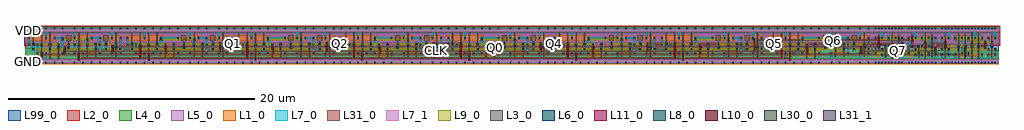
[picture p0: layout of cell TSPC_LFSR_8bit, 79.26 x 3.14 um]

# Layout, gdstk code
import gdstk
lib = gdstk.Library(unit=1e-6, precision=5e-10)
def R(c, l, rs):  # rectangles x0, y0, x1, y1
    for r in rs: c.add(gdstk.rectangle(r[:2], r[2:], *l))
def A(c, l, x, y, w, h, nx, ny, dx, dy):  # array of equal rectangles
    R(c, l, [(x+i*dx, y+j*dy, x+i*dx+w, y+j*dy+h) for i in range(nx) for j in range(ny)])
L1_0 = (1, 0)
L2_0 = (2, 0)
L3_0 = (3, 0)
L4_0 = (4, 0)
L5_0 = (5, 0)
L6_0 = (6, 0)
L7_0 = (7, 0)
L7_1 = (7, 1)
L8_0 = (8, 0)
L9_0 = (9, 0)
L10_0 = (10, 0)
L11_0 = (11, 0)
L30_0 = (30, 0)
L31_0 = (31, 0)
L31_1 = (31, 1)
L99_0 = (99, 0)

tspc_dff_s = lib.new_cell('TSPC_DFF_S')
A(tspc_dff_s, L1_0, 1.54, 0.52, 0.24, 0.48, 3, 1, 0.68, 0)
A(tspc_dff_s, L1_0, 3.88, 0.64, 0.24, 0.24, 4, 1, 0.68, 0)
A(tspc_dff_s, L1_0, 4.12, 0.64, 0.44, 0.24, 3, 1, 0.68, 0)
A(tspc_dff_s, L1_0, 0.18, 1.76, 0.24, 0.48, 4, 1, 0.68, 0)
A(tspc_dff_s, L1_0, 0.42, 1.76, 0.44, 0.48, 3, 1, 0.68, 0)
A(tspc_dff_s, L1_0, 3.88, 1.76, 0.24, 0.48, 3, 1, 0.68, 0)
R(tspc_dff_s, L1_0, [(0,-0.12,8,0.24), (1.78,0.52,2.22,1), (2.46,0.52,2.9,1), (0.86,0.64,1.1,0.88), (1.1,0.64,1.54,0.88), (6.9,0.64,7.14,0.88), (7.14,0.64,7.58,0.88), (7.58,0.64,7.82,0.88), (4.12,1.76,4.56,2.24), (4.8,1.76,5.24,2.24), (6.9,1.76,7.14,2.24), (7.14,1.76,7.58,2.24), (7.58,1.76,7.82,2.24), (2.9,1.88,3.14,2.12), (5.92,1.88,6.16,2.12), (3.14,1.94,3.88,2.06), (6.16,1.94,6.9,2.06), (0,2.52,8,2.88)])
R(tspc_dff_s, L2_0, [(-0.12,1.32,8.12,3)])
R(tspc_dff_s, L3_0, [(1.95,0.34,2.05,2.42), (2.63,0.34,2.73,1.36), (1.27,0.46,1.37,2.42), (4.29,0.46,4.39,2.42), (4.97,0.46,5.07,2.42), (5.65,0.46,5.75,1.62), (7.31,0.46,7.41,2.42), (2.58,1.12,2.78,1.36), (3.41,1.12,3.61,1.36), (3.46,1.12,3.56,2.24), (7.26,1.12,7.46,1.36), (1.22,1.28,1.42,1.52), (4.24,1.28,4.44,1.52), (4.92,1.28,5.12,1.52), (1.9,1.38,2.1,1.62), (5.6,1.38,5.8,1.62), (0.54,1.4,0.74,1.64), (0.59,1.4,0.69,2.42), (6.43,1.4,6.63,1.64), (6.48,1.4,6.58,2.24), (3.31,1.76,3.71,2.24), (6.33,1.76,6.73,2.24)])
R(tspc_dff_s, L4_0, [(0,0.26,8,1.2), (-0.02,2.42,8.02,2.9)])
R(tspc_dff_s, L5_0, [(-0.02,-0.14,8.02,0.26), (0,1.56,8,2.42)])
A(tspc_dff_s, L6_0, 0.24, -0.06, 0.12, 0.12, 5, 2, 0.68, 2.76)
A(tspc_dff_s, L6_0, 3.94, -0.06, 0.12, 0.12, 4, 2, 0.68, 2.76)
A(tspc_dff_s, L6_0, 1.6, 1.94, 0.12, 0.12, 3, 1, 0.68, 0)
R(tspc_dff_s, L6_0, [(6.96,-0.06,7.08,0.06), (7.64,-0.06,7.76,0.06), (0.92,0.7,1.04,0.82), (1.6,0.7,1.72,0.82), (2.96,0.7,3.08,0.82), (3.94,0.7,4.06,0.82), (4.62,0.7,4.74,0.82), (5.98,0.7,6.1,0.82), (6.96,0.7,7.08,0.82), (7.64,0.7,7.76,0.82), (2.62,1.18,2.74,1.3), (3.45,1.18,3.57,1.3), (7.3,1.18,7.42,1.3), (1.26,1.34,1.38,1.46), (4.28,1.34,4.4,1.46), (4.96,1.34,5.08,1.46), (1.94,1.44,2.06,1.56), (5.64,1.44,5.76,1.56), (0.58,1.46,0.7,1.58), (6.47,1.46,6.59,1.58), (0.24,1.94,0.36,2.06), (3.94,1.94,4.06,2.06), (5.3,1.94,5.42,2.06), (5.98,1.94,6.1,2.06), (6.96,1.94,7.08,2.06), (7.64,1.94,7.76,2.06), (6.96,2.7,7.08,2.82), (7.64,2.7,7.76,2.82)])
A(tspc_dff_s, L7_0, 1.6, 1.88, 0.12, 0.24, 3, 1, 0.68, 0)
R(tspc_dff_s, L7_0, [(0,-0.06,8,0.24), (1.6,0.06,1.72,0.82), (4.62,0.06,4.74,0.82), (6.96,0.06,7.08,0.82), (0.92,0.64,1.04,0.88), (1.6,0.64,1.72,0.88), (2.96,0.64,3.08,0.88), (3.94,0.64,4.06,0.88), (4.62,0.64,4.74,0.88), (5.98,0.64,6.1,0.88), (6.96,0.64,7.08,0.88), (7.64,0.64,7.76,0.88), (0.92,0.7,1.04,1.54), (2.96,0.7,3.08,2.06), (3.94,0.7,4.06,1.54), (5.98,0.7,6.1,2.06), (7.64,0.7,7.76,2.06), (0.51,0.96,0.77,1.24), (1.87,0.96,2.13,1.24), (5.57,0.96,5.83,1.24), (6.4,0.96,6.66,1.24), (7.57,0.96,7.83,1.24), (0.58,1.1,0.7,1.52), (1.94,1.1,2.06,1.5), (5.64,1.1,5.76,1.5), (6.47,1.1,6.59,1.52), (2.59,1.12,2.77,1.36), (3.42,1.12,3.6,1.36), (7.27,1.12,7.45,1.36), (1.23,1.2,1.41,1.6), (4.25,1.2,4.43,1.6), (2.62,1.24,2.74,1.48), (3.45,1.24,3.57,1.48), (7.3,1.24,7.42,1.48), (1.23,1.28,1.41,1.52), (4.25,1.28,4.43,1.52), (4.93,1.28,5.11,1.52), (0.17,1.34,0.43,1.62), (0.85,1.34,1.11,1.62), (2.55,1.34,2.81,1.62), (3.38,1.34,3.64,1.62), (3.87,1.34,4.13,1.62), (5.91,1.34,6.17,1.62), (7.23,1.34,7.49,1.62), (1.91,1.38,2.09,1.62), (5.61,1.38,5.79,1.62), (0.55,1.4,0.73,1.64), (4.96,1.4,5.08,1.88), (6.44,1.4,6.62,1.64), (0.24,1.42,0.36,2.06), (2.89,1.74,3.15,2.02), (4.89,1.74,5.15,2.02), (0.24,1.88,0.36,2.12), (3.94,1.88,4.06,2.12), (5.3,1.88,5.42,2.12), (5.98,1.88,6.1,2.12), (6.96,1.88,7.08,2.12), (7.64,1.88,7.76,2.12), (1.6,1.94,1.72,2.7), (2.28,1.94,3.08,2.06), (3.94,1.94,4.06,2.7), (5.3,1.94,6.1,2.06), (6.96,1.94,7.08,2.7), (0,2.52,8,2.82)])
R(tspc_dff_s, L7_1, [(0,0,8,0.24), (5.98,0.95,6.1,1.05), (7.64,0.95,7.76,1.05), (1.23,1.2,1.41,1.6), (4.25,1.2,4.43,1.6), (1.91,1.4,2.09,1.6), (0,2.52,8,2.76)])
R(tspc_dff_s, L8_0, [(0.57,1.03,0.71,1.17), (1.93,1.03,2.07,1.17), (5.63,1.03,5.77,1.17), (6.46,1.03,6.6,1.17), (7.63,1.03,7.77,1.17), (0.23,1.41,0.37,1.55), (0.91,1.41,1.05,1.55), (2.61,1.41,2.75,1.55), (3.44,1.41,3.58,1.55), (3.93,1.41,4.07,1.55), (5.97,1.41,6.11,1.55), (7.29,1.41,7.43,1.55), (2.95,1.81,3.09,1.95), (4.95,1.81,5.09,1.95)])
R(tspc_dff_s, L9_0, [(0.51,1.025,5.83,1.175), (6.4,1.025,7.83,1.175), (0.17,1.405,2.81,1.555), (3.38,1.405,7.49,1.555), (2.89,1.805,5.15,1.955)])
R(tspc_dff_s, L99_0, [(0,0,8,2.76)])
tspc_dff_s.add(gdstk.Label('QB', (6.04,1), layer=7, texttype=3))
tspc_dff_s.add(gdstk.Label('Q', (7.7,1), layer=7, texttype=3))
tspc_dff_s.add(gdstk.Label('CLK', (2,1.5), layer=7, texttype=3))
tspc_dff_s.add(gdstk.Label('SET', (4.34,1.4), layer=7, texttype=3))
tspc_dff_s.add(gdstk.Label('D', (1.32,1.4), layer=7, texttype=3))
tspc_dff_s.add(gdstk.Label('VDD', (4,2.64), layer=7, texttype=3))
tspc_dff_s.add(gdstk.Label('GND', (4,0.12), layer=7, texttype=3))

tspc_dff_r = lib.new_cell('TSPC_DFF_R')
A(tspc_dff_r, L1_0, 2.9, 0.52, 0.24, 0.48, 3, 1, 0.68, 0)
A(tspc_dff_r, L1_0, 0.86, 0.64, 0.24, 0.24, 3, 1, 0.68, 0)
A(tspc_dff_r, L1_0, 5.24, 0.64, 0.24, 0.24, 3, 1, 0.68, 0)
A(tspc_dff_r, L1_0, 0.18, 1.76, 0.24, 0.48, 5, 1, 0.68, 0)
A(tspc_dff_r, L1_0, 0.42, 1.76, 0.44, 0.48, 4, 1, 0.68, 0)
R(tspc_dff_r, L1_0, [(0,-0.12,8.68,0.24), (3.14,0.52,3.58,1), (3.82,0.52,4.26,1), (1.1,0.64,1.54,0.88), (1.78,0.64,2.22,0.88), (5.48,0.64,5.92,0.88), (6.16,0.64,6.6,0.88), (7.58,0.64,7.82,0.88), (7.82,0.64,8.26,0.88), (8.26,0.64,8.5,0.88), (5.24,1.76,5.48,2.24), (5.48,1.76,5.92,2.24), (5.92,1.76,6.16,2.24), (7.58,1.76,7.82,2.24), (7.82,1.76,8.26,2.24), (8.26,1.76,8.5,2.24), (4.26,1.88,4.5,2.12), (6.6,1.88,6.84,2.12), (4.5,1.94,5.24,2.06), (6.84,1.94,7.58,2.06), (0,2.52,8.68,2.88)])
R(tspc_dff_r, L2_0, [(-0.12,1.32,8.8,3)])
R(tspc_dff_r, L3_0, [(3.31,0.34,3.41,1.36), (3.99,0.34,4.09,1.62), (1.27,0.46,1.37,2.42), (1.95,0.46,2.05,2.42), (5.65,0.46,5.75,2.42), (6.33,0.46,6.43,1.62), (7.99,0.46,8.09,2.42), (3.26,1.12,3.46,1.36), (4.77,1.12,4.97,1.36), (4.82,1.12,4.92,2.24), (7.94,1.12,8.14,1.36), (1.22,1.28,1.42,1.52), (1.9,1.28,2.1,1.52), (5.6,1.28,5.8,1.52), (3.94,1.38,4.14,1.62), (6.28,1.38,6.48,1.62), (0.54,1.4,0.74,1.64), (0.59,1.4,0.69,2.42), (2.58,1.4,2.78,1.64), (2.63,1.4,2.73,2.42), (7.11,1.4,7.31,1.64), (7.16,1.4,7.26,2.24), (4.67,1.76,5.07,2.24), (7.01,1.76,7.41,2.24)])
R(tspc_dff_r, L4_0, [(0,0.26,8.68,1.2), (-0.02,2.42,8.7,2.9)])
R(tspc_dff_r, L5_0, [(-0.02,-0.14,8.7,0.26), (0,1.56,8.68,2.42)])
A(tspc_dff_r, L6_0, 0.24, -0.06, 0.12, 0.12, 7, 2, 0.68, 2.76)
A(tspc_dff_r, L6_0, 5.3, -0.06, 0.12, 0.12, 3, 2, 0.68, 2)
A(tspc_dff_r, L6_0, 0.92, 0.7, 0.12, 0.12, 4, 1, 0.68, 0)
A(tspc_dff_r, L6_0, 0.24, 1.94, 0.12, 0.12, 4, 1, 1.36, 0)
A(tspc_dff_r, L6_0, 5.3, 2.7, 0.12, 0.12, 3, 1, 0.68, 0)
R(tspc_dff_r, L6_0, [(7.64,-0.06,7.76,0.06), (8.32,-0.06,8.44,0.06), (4.32,0.7,4.44,0.82), (5.3,0.7,5.42,0.82), (6.66,0.7,6.78,0.82), (7.64,0.7,7.76,0.82), (8.32,0.7,8.44,0.82), (3.3,1.18,3.42,1.3), (4.81,1.18,4.93,1.3), (7.98,1.18,8.1,1.3), (1.26,1.34,1.38,1.46), (1.94,1.34,2.06,1.46), (5.64,1.34,5.76,1.46), (3.98,1.44,4.1,1.56), (6.32,1.44,6.44,1.56), (0.58,1.46,0.7,1.58), (2.62,1.46,2.74,1.58), (7.15,1.46,7.27,1.58), (7.64,1.94,7.76,2.06), (8.32,1.94,8.44,2.06), (7.64,2.7,7.76,2.82), (8.32,2.7,8.44,2.82)])
A(tspc_dff_r, L7_0, 0.92, 0.64, 0.12, 0.24, 4, 1, 0.68, 0)
A(tspc_dff_r, L7_0, 0.24, 1.88, 0.12, 0.24, 4, 1, 1.36, 0)
A(tspc_dff_r, L7_0, 5.3, 1.88, 0.12, 0.24, 3, 1, 0.68, 0)
R(tspc_dff_r, L7_0, [(0,-0.06,8.68,0.24), (1.6,0.06,1.72,0.82), (4.32,0.06,4.44,0.82), (5.3,0.06,5.42,0.82), (7.64,0.06,7.76,0.82), (4.32,0.64,4.44,0.88), (5.3,0.64,5.42,0.88), (6.66,0.64,6.78,0.88), (7.64,0.64,7.76,0.88), (8.32,0.64,8.44,0.88), (0.92,0.7,1.04,1.54), (2.28,0.7,3.08,0.82), (2.96,0.7,3.08,2.06), (6.66,0.7,6.78,2.06), (8.32,0.7,8.44,2.06), (0.51,0.96,0.77,1.24), (2.55,0.96,2.81,1.24), (3.91,0.96,4.17,1.24), (6.25,0.96,6.51,1.24), (7.08,0.96,7.34,1.24), (8.25,0.96,8.51,1.24), (0.58,1.1,0.7,1.52), (2.62,1.1,2.74,1.52), (3.98,1.1,4.1,1.5), (6.32,1.1,6.44,1.5), (7.15,1.1,7.27,1.52), (3.27,1.12,3.45,1.36), (4.78,1.12,4.96,1.36), (7.95,1.12,8.13,1.36), (1.23,1.2,1.41,1.6), (1.91,1.2,2.09,1.6), (3.3,1.24,3.42,1.48), (4.81,1.24,4.93,1.48), (7.98,1.24,8.1,1.48), (1.23,1.28,1.41,1.52), (1.91,1.28,2.09,1.52), (5.61,1.28,5.79,1.52), (0.17,1.34,0.43,1.62), (0.85,1.34,1.11,1.62), (3.23,1.34,3.49,1.62), (4.74,1.34,5,1.62), (6.59,1.34,6.85,1.62), (7.91,1.34,8.17,1.62), (3.95,1.38,4.13,1.62), (6.29,1.38,6.47,1.62), (0.55,1.4,0.73,1.64), (2.59,1.4,2.77,1.64), (5.64,1.4,5.76,1.88), (7.12,1.4,7.3,1.64), (0.24,1.42,0.36,2.06), (2.89,1.74,3.15,2.02), (5.57,1.74,5.83,2.02), (7.64,1.88,7.76,2.12), (8.32,1.88,8.44,2.12), (1.6,1.94,1.72,2.7), (2.96,1.94,4.44,2.06), (5.3,1.94,5.42,2.7), (5.98,1.94,6.78,2.06), (7.64,1.94,7.76,2.7), (0,2.52,8.68,2.82)])
R(tspc_dff_r, L7_1, [(0,0,8.68,0.24), (6.66,0.95,6.78,1.05), (8.32,0.95,8.44,1.05), (1.23,1.2,1.41,1.6), (1.91,1.2,2.09,1.6), (3.95,1.4,4.13,1.6), (0,2.52,8.68,2.76)])
R(tspc_dff_r, L8_0, [(0.57,1.03,0.71,1.17), (2.61,1.03,2.75,1.17), (3.97,1.03,4.11,1.17), (6.31,1.03,6.45,1.17), (7.14,1.03,7.28,1.17), (8.31,1.03,8.45,1.17), (0.23,1.41,0.37,1.55), (0.91,1.41,1.05,1.55), (3.29,1.41,3.43,1.55), (4.8,1.41,4.94,1.55), (6.65,1.41,6.79,1.55), (7.97,1.41,8.11,1.55), (2.95,1.81,3.09,1.95), (5.63,1.81,5.77,1.95)])
R(tspc_dff_r, L9_0, [(0.51,1.025,6.51,1.175), (7.08,1.025,8.51,1.175), (0.17,1.405,3.49,1.555), (4.74,1.405,8.17,1.555), (2.89,1.805,5.83,1.955)])
R(tspc_dff_r, L99_0, [(0,0,8.68,2.76)])
tspc_dff_r.add(gdstk.Label('QB', (6.72,1), layer=7, texttype=3))
tspc_dff_r.add(gdstk.Label('Q', (8.38,1), layer=7, texttype=3))
tspc_dff_r.add(gdstk.Label('CLK', (4.04,1.5), layer=7, texttype=3))
tspc_dff_r.add(gdstk.Label('RST', (2,1.4), layer=7, texttype=3))
tspc_dff_r.add(gdstk.Label('D', (1.32,1.4), layer=7, texttype=3))
tspc_dff_r.add(gdstk.Label('VDD', (4.34,2.64), layer=7, texttype=3))
tspc_dff_r.add(gdstk.Label('GND', (4.34,0.12), layer=7, texttype=3))

xor2_tg6 = lib.new_cell('XOR2_TG6')
A(xor2_tg6, L1_0, 0.15, 0.52, 0.24, 0.24, 5, 1, 0.54, 0)
R(xor2_tg6, L1_0, [(0,-0.12,2.7,0.24), (0.39,0.52,0.69,0.76), (1.47,0.52,1.77,0.76), (0.93,0.58,1.23,0.7), (2.01,0.58,2.31,0.7), (1.23,1.76,1.47,2.24), (1.47,1.76,1.77,2.24), (1.77,1.76,2.01,2.24), (0.15,1.88,0.39,2.12), (0.39,1.88,0.69,2.12), (0.69,1.88,0.93,2.12), (2.01,1.88,2.31,2.12), (2.31,1.88,2.55,2.12), (0,2.52,2.7,2.88)])
R(xor2_tg6, L2_0, [(-0.12,1.38,2.82,3)])
A(xor2_tg6, L3_0, 0.44, 1.2, 0.2, 0.24, 4, 1, 0.54, 0)
R(xor2_tg6, L3_0, [(1.57,0.34,1.67,2.42), (1.03,0.4,1.13,1.44), (2.11,0.4,2.21,2.3), (0.49,1.2,0.59,2.3)])
R(xor2_tg6, L4_0, [(0,0.26,2.7,1), (-0.02,2.42,2.72,2.9)])
R(xor2_tg6, L5_0, [(-0.02,-0.14,2.72,0.26), (0,1.5,2.7,2.42)])
A(xor2_tg6, L6_0, 0.21, -0.06, 0.12, 0.12, 9, 2, 0.27, 2.76)
A(xor2_tg6, L6_0, 0.75, 0.58, 0.12, 0.12, 4, 1, 0.54, 0)
A(xor2_tg6, L6_0, 0.48, 1.26, 0.12, 0.12, 4, 1, 0.54, 0)
A(xor2_tg6, L6_0, 0.21, 1.94, 0.12, 0.12, 5, 1, 0.54, 0)
R(xor2_tg6, L7_0, [(0,-0.06,2.7,0.24), (2.355,0,2.505,0.76), (1.815,0.48,1.965,0.96), (0.735,0.52,0.885,1.21), (1.275,0.52,1.425,1.5), (0.195,0.66,0.345,2.12), (1.005,0.66,1.155,1.44), (1.545,0.95,1.695,1.44), (2.355,0.95,2.505,2.12), (0.465,1.2,0.615,2.08), (2.085,1.2,2.235,2.08), (1.815,1.24,1.965,2.12), (1.275,1.73,1.425,2.21), (0.735,1.88,0.885,2.76), (0,2.52,2.7,2.82)])
R(xor2_tg6, L7_1, [(0,0,2.7,0.24), (2.355,1.19,2.505,1.46), (0.465,1.3,0.615,1.57), (1.815,1.3,1.965,1.57), (0,2.52,2.7,2.76)])
A(xor2_tg6, L8_0, 0.2, 0.72, 0.14, 0.14, 3, 1, 0.81, 0)
A(xor2_tg6, L8_0, 0.74, 1.01, 0.14, 0.14, 3, 1, 0.81, 0)
A(xor2_tg6, L8_0, 0.47, 1.88, 0.14, 0.14, 3, 1, 0.81, 0)
R(xor2_tg6, L8_0, [(1.28,1.3,1.42,1.44), (1.82,1.3,1.96,1.44)])
R(xor2_tg6, L9_0, [(0.14,0.715,2.02,0.865), (0.68,1.005,2.56,1.155), (1.22,1.295,2.02,1.445), (0.41,1.875,2.29,2.025)])
R(xor2_tg6, L99_0, [(0,0,2.7,2.76)])
xor2_tg6.add(gdstk.Label('Y', (1.89,1.435), layer=7, texttype=3))
xor2_tg6.add(gdstk.Label('B', (2.43,1.325), layer=7, texttype=3))
xor2_tg6.add(gdstk.Label('A', (0.54,1.435), layer=7, texttype=3))
xor2_tg6.add(gdstk.Label('VDD', (1.35,2.64), layer=7, texttype=3))
xor2_tg6.add(gdstk.Label('GND', (1.35,0.12), layer=7, texttype=3))

xor2_x1 = lib.new_cell('XOR2_X1')
A(xor2_x1, L1_0, 0.15, 0.52, 0.24, 0.24, 9, 1, 0.54, 0)
A(xor2_x1, L1_0, 1.47, 0.52, 0.3, 0.24, 4, 1, 0.54, 0)
A(xor2_x1, L1_0, 1.23, 1.76, 0.24, 0.48, 5, 1, 0.54, 0)
A(xor2_x1, L1_0, 1.47, 1.76, 0.3, 0.48, 4, 1, 0.54, 0)
R(xor2_x1, L1_0, [(0,-0.12,4.86,0.24), (0.39,0.58,0.69,0.7), (4.17,0.58,4.47,0.7), (0.15,1.88,0.39,2.12), (0.39,1.88,0.69,2.12), (0.69,1.88,0.93,2.12), (3.93,1.88,4.17,2.12), (4.17,1.88,4.47,2.12), (4.47,1.88,4.71,2.12), (0,2.52,4.86,2.88)])
R(xor2_x1, L2_0, [(-0.12,1.38,4.98,3)])
A(xor2_x1, L3_0, 1.57, 0.34, 0.1, 2.08, 4, 1, 0.54, 0)
A(xor2_x1, L3_0, 1.52, 1.2, 0.2, 0.24, 4, 1, 0.54, 0)
R(xor2_x1, L3_0, [(0.49,0.4,0.59,2.3), (4.27,0.4,4.37,2.3), (0.44,1.2,0.64,1.44), (4.22,1.2,4.42,1.44)])
R(xor2_x1, L4_0, [(0,0.26,4.86,1), (-0.02,2.42,4.88,2.9)])
R(xor2_x1, L5_0, [(-0.02,-0.14,4.88,0.26), (0,1.5,4.86,2.42)])
A(xor2_x1, L6_0, 0.21, -0.06, 0.12, 0.12, 17, 2, 0.27, 2.76)
A(xor2_x1, L6_0, 0.21, 0.58, 0.12, 0.12, 3, 1, 0.54, 0)
A(xor2_x1, L6_0, 3.45, 0.58, 0.12, 0.12, 3, 1, 0.54, 0)
A(xor2_x1, L6_0, 1.56, 1.26, 0.12, 0.12, 4, 1, 0.54, 0)
A(xor2_x1, L6_0, 0.21, 1.94, 0.12, 0.12, 9, 1, 0.54, 0)
R(xor2_x1, L6_0, [(2.37,0.58,2.49,0.7), (0.48,1.26,0.6,1.38), (4.26,1.26,4.38,1.38)])
A(xor2_x1, L7_0, 1.275, 1.73, 0.15, 0.48, 3, 1, 1.08, 0)
R(xor2_x1, L7_0, [(0,-0.06,4.86,0.24), (0.195,0,0.345,0.76), (1.275,0,1.425,0.76), (3.435,0,3.585,0.76), (3.975,0,4.125,0.76), (2.355,0.48,2.505,0.96), (0.735,0.52,0.885,1.21), (4.515,0.52,4.665,1.21), (1.815,0.66,1.965,2.12), (0.195,0.95,0.345,2.12), (1.545,0.95,1.695,1.44), (2.085,0.95,2.235,1.44), (3.975,0.95,4.125,2.12), (0.465,1.11,0.615,1.59), (3.165,1.11,3.315,1.59), (2.625,1.2,2.775,1.79), (4.245,1.2,4.395,1.79), (0.735,1.88,0.885,2.76), (2.895,1.88,3.045,2.76), (4.515,1.88,4.665,2.76), (0,2.52,4.86,2.82)])
R(xor2_x1, L7_1, [(0,0,4.86,0.24), (2.355,0.59,2.505,0.86), (0.465,1.3,0.615,1.57), (4.245,1.3,4.395,1.57), (0,2.52,4.86,2.76)])
A(xor2_x1, L8_0, 1.28, 1.88, 0.14, 0.14, 3, 1, 1.08, 0)
R(xor2_x1, L8_0, [(1.82,0.72,1.96,0.86), (2.36,0.72,2.5,0.86), (0.2,1.01,0.34,1.15), (0.74,1.01,0.88,1.15), (1.55,1.01,1.69,1.15), (2.09,1.01,2.23,1.15), (3.98,1.01,4.12,1.15), (4.52,1.01,4.66,1.15), (0.47,1.3,0.61,1.44), (3.17,1.3,3.31,1.44), (2.63,1.59,2.77,1.73), (4.25,1.59,4.39,1.73)])
R(xor2_x1, L9_0, [(1.76,0.715,2.56,0.865), (0.14,1.005,1.75,1.155), (2.03,1.005,4.72,1.155), (0.41,1.295,3.37,1.445), (2.57,1.585,4.45,1.735), (1.22,1.875,3.64,2.025)])
R(xor2_x1, L99_0, [(0,0,4.86,2.76)])
xor2_x1.add(gdstk.Label('Y', (2.43,0.725), layer=7, texttype=3))
xor2_x1.add(gdstk.Label('B', (0.54,1.435), layer=7, texttype=3))
xor2_x1.add(gdstk.Label('A', (4.32,1.435), layer=7, texttype=3))
xor2_x1.add(gdstk.Label('VDD', (2.43,2.64), layer=7, texttype=3))
xor2_x1.add(gdstk.Label('GND', (2.43,0.12), layer=7, texttype=3))

tspc_lfsr_8bit = lib.new_cell('TSPC_LFSR_8bit')
R(tspc_lfsr_8bit, L7_0, [(0,0,0.56,0.24), (1.19,0.37,1.45,0.63), (1.26,0.37,1.38,1.3), (4.21,0.37,4.47,0.63), (4.28,0.37,4.4,1.3), (9.19,0.37,9.45,0.63), (9.26,0.37,9.38,1.3), (9.87,0.37,10.13,0.63), (9.94,0.37,10.06,1.3), (17.87,0.37,18.13,0.63), (17.94,0.37,18.06,1.3), (18.55,0.37,18.81,0.63), (18.62,0.37,18.74,1.3), (26.55,0.37,26.81,0.63), (26.62,0.37,26.74,1.3), (27.23,0.37,27.49,0.63), (27.3,0.37,27.42,1.3), (35.23,0.37,35.49,0.63), (35.3,0.37,35.42,1.3), (35.91,0.37,36.17,0.63), (35.98,0.37,36.1,1.3), (43.91,0.37,44.17,0.63), (43.98,0.37,44.1,1.3), (44.59,0.37,44.85,0.63), (44.66,0.37,44.78,1.3), (52.59,0.37,52.85,0.63), (52.66,0.37,52.78,1.3), (53.27,0.37,53.53,0.63), (53.34,0.37,53.46,1.3), (61.27,0.37,61.53,0.63), (61.34,0.37,61.46,1.3), (61.95,0.37,62.21,0.63), (62.02,0.37,62.14,1.3), (0,2.52,0.56,2.76)])
R(tspc_lfsr_8bit, L7_1, [(0,0,0.56,0.24), (0,2.52,0.56,2.76)])
R(tspc_lfsr_8bit, L8_0, [(1.25,0.43,1.39,0.57), (4.27,0.43,4.41,0.57), (9.25,0.43,9.39,0.57), (9.93,0.43,10.07,0.57), (17.93,0.43,18.07,0.57), (18.61,0.43,18.75,0.57), (26.61,0.43,26.75,0.57), (27.29,0.43,27.43,0.57), (35.29,0.43,35.43,0.57), (35.97,0.43,36.11,0.57), (43.97,0.43,44.11,0.57), (44.65,0.43,44.79,0.57), (52.65,0.43,52.79,0.57), (53.33,0.43,53.47,0.57), (61.33,0.43,61.47,0.57), (62.01,0.43,62.15,0.57)])
R(tspc_lfsr_8bit, L9_0, [(1.19,0.34,1.45,0.66), (4.21,0.34,4.47,0.66), (9.19,0.34,9.45,0.66), (9.87,0.34,10.13,0.66), (17.87,0.34,18.13,0.66), (18.55,0.34,18.81,0.66), (26.55,0.34,26.81,0.66), (27.23,0.34,27.49,0.66), (35.23,0.34,35.49,0.66), (35.91,0.34,36.17,0.66), (43.91,0.34,44.17,0.66), (44.59,0.34,44.85,0.66), (52.59,0.34,52.85,0.66), (53.27,0.34,53.53,0.66), (61.27,0.34,61.53,0.66), (61.95,0.34,62.21,0.66)])
R(tspc_lfsr_8bit, L10_0, [(1.25,0.43,1.39,0.57), (4.27,0.43,4.41,0.57), (9.25,0.43,9.39,0.57), (9.93,0.43,10.07,0.57), (17.93,0.43,18.07,0.57), (18.61,0.43,18.75,0.57), (26.61,0.43,26.75,0.57), (27.29,0.43,27.43,0.57), (35.29,0.43,35.43,0.57), (35.97,0.43,36.11,0.57), (43.97,0.43,44.11,0.57), (44.65,0.43,44.79,0.57), (52.65,0.43,52.79,0.57), (53.33,0.43,53.47,0.57), (61.33,0.43,61.47,0.57), (62.01,0.43,62.15,0.57), (76.25,0.72,76.39,0.86), (71.12,1.01,71.26,1.15), (73.82,1.01,73.96,1.15), (3.13,1.03,3.27,1.17), (7.03,1.03,7.17,1.17), (11.33,1.03,11.47,1.17), (15.73,1.03,15.87,1.17), (20.01,1.03,20.15,1.17), (24.41,1.03,24.55,1.17), (28.69,1.03,28.83,1.17), (33.09,1.03,33.23,1.17), (37.37,1.03,37.51,1.17), (41.77,1.03,41.91,1.17), (46.05,1.03,46.19,1.17), (50.45,1.03,50.59,1.17), (54.73,1.03,54.87,1.17), (59.13,1.03,59.27,1.17), (63.41,1.03,63.55,1.17), (67.81,1.03,67.95,1.17), (70.31,1.3,70.45,1.44), (73.01,1.3,73.15,1.44), (74.63,1.3,74.77,1.44), (77.87,1.59,78.01,1.73), (69.23,1.88,69.37,2.02), (71.93,1.88,72.07,2.02)])
A(tspc_lfsr_8bit, L11_0, 9.925, 0.17, 0.15, 0.54, 7, 1, 8.68, 0)
A(tspc_lfsr_8bit, L11_0, 17.925, 0.37, 0.15, 1.3, 5, 1, 8.68, 0)
A(tspc_lfsr_8bit, L11_0, 11.325, 0.76, 0.15, 0.54, 7, 1, 8.68, 0)
A(tspc_lfsr_8bit, L11_0, 15.725, 0.97, 0.15, 0.7, 5, 1, 8.68, 0)
R(tspc_lfsr_8bit, L11_0, [(4.265,0.17,4.415,0.71), (1.245,0.315,1.395,0.855), (9.245,0.37,9.395,1.38), (61.325,0.37,61.475,1.96), (76.245,0.46,76.395,1), (73.815,0.75,73.965,1.29), (3.125,0.76,3.275,1.3), (67.805,0.76,67.955,1.3), (7.025,0.905,7.175,1.445), (71.115,0.95,71.265,1.67), (59.125,0.97,59.275,1.96), (70.305,1.04,70.455,1.58), (69.225,1.12,69.375,2.08), (77.865,1.12,78.015,1.79), (73.005,1.185,73.155,1.725), (74.625,1.185,74.775,1.725), (71.925,1.62,72.075,2.16)])
A(tspc_lfsr_8bit, L30_0, 9.93, 0.31, 0.14, 0.14, 7, 1, 8.68, 0)
A(tspc_lfsr_8bit, L30_0, 11.33, 0.89, 0.14, 0.14, 7, 1, 8.68, 0)
R(tspc_lfsr_8bit, L30_0, [(4.27,0.31,4.41,0.45), (1.25,0.6,1.39,0.74), (76.25,0.6,76.39,0.74), (3.13,0.89,3.27,1.03), (67.81,0.89,67.95,1.03), (73.82,0.89,73.96,1.03), (7.03,1.18,7.17,1.32), (9.25,1.18,9.39,1.32), (69.23,1.18,69.37,1.32), (70.31,1.18,70.45,1.32), (77.87,1.18,78.01,1.32), (15.73,1.47,15.87,1.61), (17.93,1.47,18.07,1.61), (24.41,1.47,24.55,1.61), (26.61,1.47,26.75,1.61), (33.09,1.47,33.23,1.61), (35.29,1.47,35.43,1.61), (41.77,1.47,41.91,1.61), (43.97,1.47,44.11,1.61), (50.45,1.47,50.59,1.61), (52.65,1.47,52.79,1.61), (71.12,1.47,71.26,1.61), (73.01,1.47,73.15,1.61), (74.63,1.47,74.77,1.61), (59.13,1.76,59.27,1.9), (61.33,1.76,61.47,1.9), (71.93,1.76,72.07,1.9)])
A(tspc_lfsr_8bit, L31_0, 15.67, 1.465, 2.46, 0.15, 4, 1, 8.68, 0)
R(tspc_lfsr_8bit, L31_0, [(4.21,0.305,62.21,0.455), (1.19,0.595,76.45,0.745), (3.07,0.885,63.61,1.035), (67.75,0.885,74.02,1.035), (6.97,1.175,69.43,1.325), (70.25,1.175,78.07,1.325), (50.39,1.465,71.32,1.615), (72.95,1.465,74.83,1.615), (59.07,1.755,72.13,1.905)])
A(tspc_lfsr_8bit, L31_1, 16.825, 1.465, 0.15, 0.15, 4, 1, 8.68, 0)
R(tspc_lfsr_8bit, L31_1, [(33.135,0.305,33.285,0.455), (33.265,0.885,33.415,1.035), (70.81,0.885,70.96,1.035), (38.125,1.175,38.275,1.325), (60.78,1.465,60.93,1.615), (65.525,1.755,65.675,1.905)])
R(tspc_lfsr_8bit, L99_0, [(0,0,79.02,2.76)])
tspc_lfsr_8bit.add(gdstk.Reference(tspc_dff_s, (0,0)))
tspc_lfsr_8bit.add(gdstk.Reference(tspc_dff_r, (8,0)))
tspc_lfsr_8bit.add(gdstk.Reference(tspc_dff_r, (16.68,0)))
tspc_lfsr_8bit.add(gdstk.Reference(tspc_dff_r, (25.36,0)))
tspc_lfsr_8bit.add(gdstk.Reference(tspc_dff_r, (34.04,0)))
tspc_lfsr_8bit.add(gdstk.Reference(tspc_dff_r, (42.72,0)))
tspc_lfsr_8bit.add(gdstk.Reference(tspc_dff_r, (51.4,0)))
tspc_lfsr_8bit.add(gdstk.Reference(tspc_dff_r, (60.08,0)))
tspc_lfsr_8bit.add(gdstk.Reference(xor2_tg6, (68.76,0)))
tspc_lfsr_8bit.add(gdstk.Reference(xor2_tg6, (71.46,0)))
tspc_lfsr_8bit.add(gdstk.Reference(xor2_x1, (74.16,0)))
tspc_lfsr_8bit.add(gdstk.Label('CLK', (33.34,0.96), layer=31, texttype=3))
tspc_lfsr_8bit.add(gdstk.Label('RST', (33.21,0.38), layer=31, texttype=3))
tspc_lfsr_8bit.add(gdstk.Label('Q0', (38.2,1.25), layer=31, texttype=3))
tspc_lfsr_8bit.add(gdstk.Label('Q1', (16.9,1.54), layer=31, texttype=3))
tspc_lfsr_8bit.add(gdstk.Label('Q2', (25.58,1.54), layer=31, texttype=3))
tspc_lfsr_8bit.add(gdstk.Label('Q3', (34.26,1.54), layer=31, texttype=3))
tspc_lfsr_8bit.add(gdstk.Label('Q4', (42.94,1.54), layer=31, texttype=3))
tspc_lfsr_8bit.add(gdstk.Label('Q5', (60.855,1.54), layer=31, texttype=3))
tspc_lfsr_8bit.add(gdstk.Label('Q6', (65.6,1.83), layer=31, texttype=3))
tspc_lfsr_8bit.add(gdstk.Label('Q7', (70.885,0.96), layer=31, texttype=3))
tspc_lfsr_8bit.add(gdstk.Label('GND', (0.28,0.12), layer=7, texttype=3))
tspc_lfsr_8bit.add(gdstk.Label('VDD', (0.28,2.64), layer=7, texttype=3))

lib.write_gds('TSPC_LFSR_8bit.gds')
